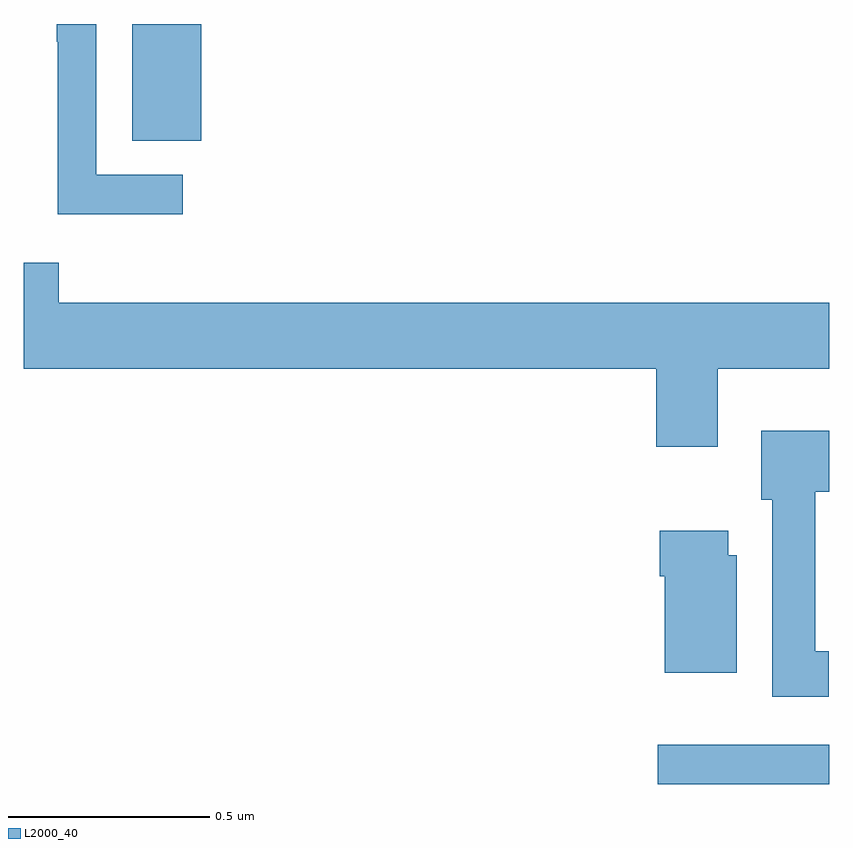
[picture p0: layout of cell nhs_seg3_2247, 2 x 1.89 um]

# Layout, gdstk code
import gdstk
lib = gdstk.Library(unit=1e-6, precision=1e-09)
def R(c, l, rs):  # rectangles x0, y0, x1, y1
    for r in rs: c.add(gdstk.rectangle(r[:2], r[2:], *l))
def P(c, l, *ps):  # polygons
    for p in ps: c.add(gdstk.Polygon(p, *l))
L2000_40 = (2000, 40)

nhs_seg3_2247 = lib.new_cell('nhs_seg3_2247')
R(nhs_seg3_2247, L2000_40, [(139.575,738.512,140,738.609), (138.269,740.11,138.44,740.4)])
P(nhs_seg3_2247, L2000_40, [(138.394,740.025),(138.18,740.025),(138.18,740.4),(138.082,740.4),(138.082,740.356),(138.084,740.356),(138.084,739.927),(138.394,739.927)],
  [(139.723,739.544),(140,739.544),(140,739.708),(138.086,739.708),(138.086,739.807),(138,739.807),(138,739.544),(139.571,739.544),(139.571,739.35),(139.723,739.35)],
  [(139.999,738.842),(139.966,738.842),(139.966,739.238),(140,739.238),(140,739.39),(139.832,739.39),(139.832,739.218),(139.859,739.218),(139.859,738.729),(139.999,738.729)],
  [(139.771,739.08),(139.75,739.08),(139.75,739.141),(139.58,739.141),(139.58,739.028),(139.592,739.028),(139.592,738.788),(139.771,738.788)])

lib.write_gds('nhs_seg3_2247.gds')
